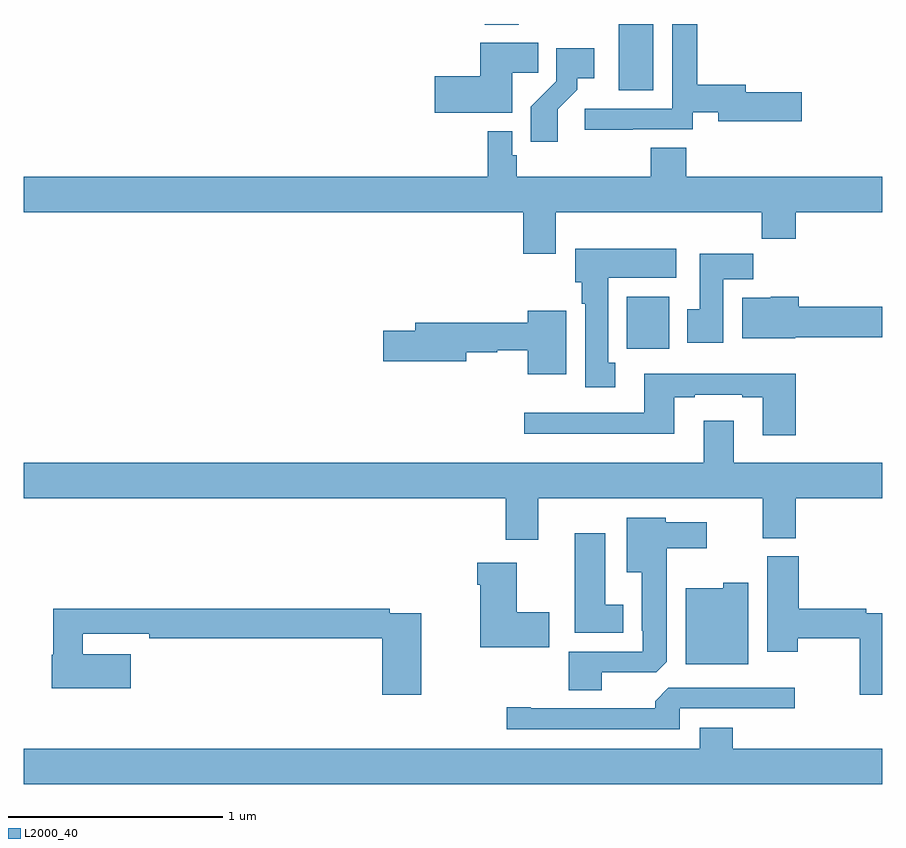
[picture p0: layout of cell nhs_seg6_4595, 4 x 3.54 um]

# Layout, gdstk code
import gdstk
lib = gdstk.Library(unit=1e-6, precision=1e-09)
def R(c, l, rs):  # rectangles x0, y0, x1, y1
    for r in rs: c.add(gdstk.rectangle(r[:2], r[2:], *l))
def P(c, l, *ps):  # polygons
    for p in ps: c.add(gdstk.Polygon(p, *l))
L2000_40 = (2000, 40)

nhs_seg6_4595 = lib.new_cell('nhs_seg6_4595')
R(nhs_seg6_4595, L2000_40, [(383.81,991.988,384.007,992.23), (383.771,993.192,383.932,993.5), (383.147,993.497,383.307,993.5)])
P(nhs_seg6_4595, L2000_40, [(383.837,993.009),(384.117,993.009),(384.117,993.09),(384.236,993.09),(384.236,993.047),(384.625,993.047),(384.625,993.182),(384.364,993.182),(384.364,993.218),(384.137,993.218),(384.137,993.5),(384.021,993.5),(384.021,993.105),(383.613,993.105),(383.613,993.007),(383.837,993.007)],
  [(383.275,993.274),(383.396,993.274),(383.396,993.412),(383.126,993.412),(383.126,993.257),(382.914,993.257),(382.914,993.086),(383.275,993.086)],
  [(383.488,993.103),(383.578,993.193),(383.578,993.248),(383.659,993.248),(383.659,993.388),(383.481,993.388),(383.481,993.233),(383.362,993.114),(383.362,992.952),(383.488,992.952)],
  [(383.479,992.624),(384.439,992.624),(384.439,992.5),(384.596,992.5),(384.596,992.624),(385,992.624),(385,992.788),(384.086,992.788),(384.086,992.924),(383.921,992.924),(383.921,992.788),(383.297,992.788),(383.297,992.889),(383.277,992.889),(383.277,993.001),(383.161,993.001),(383.161,992.788),(381,992.788),(381,992.624),(383.327,992.624),(383.327,992.43),(383.479,992.43)],
  [(383.755,991.922),(383.722,991.922),(383.722,992.318),(384.04,992.318),(384.04,992.452),(383.57,992.452),(383.57,992.298),(383.6,992.298),(383.6,992.198),(383.615,992.198),(383.615,991.809),(383.755,991.809)],
  [(384.259,992.312),(384.398,992.312),(384.398,992.431),(384.149,992.431),(384.149,992.172),(384.092,992.172),(384.092,992.016),(384.259,992.016)],
  [(384.594,992.042),(385,992.042),(385,992.184),(384.611,992.184),(384.611,992.23),(384.48,992.23),(384.48,992.224),(384.347,992.224),(384.347,992.036),(384.594,992.036)],
  [(383.527,992.164),(383.348,992.164),(383.348,992.108),(382.823,992.108),(382.823,992.072),(382.674,992.072),(382.674,991.93),(383.062,991.93),(383.062,991.972),(383.205,991.972),(383.205,991.98),(383.348,991.98),(383.348,991.868),(383.527,991.868)],
  [(384.596,991.87),(383.891,991.87),(383.891,991.689),(383.331,991.689),(383.331,991.592),(384.031,991.592),(384.031,991.761),(384.127,991.761),(384.127,991.773),(384.347,991.773),(384.347,991.761),(384.443,991.761),(384.443,991.584),(384.596,991.584)],
  [(383.398,991.292),(384.443,991.292),(384.443,991.105),(384.596,991.105),(384.596,991.292),(385,991.292),(385,991.456),(384.307,991.456),(384.307,991.651),(384.167,991.651),(384.167,991.456),(381,991.456),(381,991.292),(383.246,991.292),(383.246,991.098),(383.398,991.098)],
  [(383.692,990.48),(383.946,990.48),(383.995,990.529),(383.995,991.058),(384.181,991.058),(384.181,991.18),(383.991,991.18),(383.991,991.201),(383.81,991.201),(383.81,990.947),(383.879,990.947),(383.879,990.673),(383.883,990.673),(383.883,990.576),(383.54,990.576),(383.54,990.397),(383.692,990.397)],
  [(383.794,990.796),(383.71,990.796),(383.71,991.129),(383.567,991.129),(383.567,990.665),(383.794,990.665)],
  [(385,990.756),(384.926,990.756),(384.926,990.776),(384.611,990.776),(384.611,991.02),(384.464,991.02),(384.464,990.576),(384.606,990.576),(384.606,990.64),(384.895,990.64),(384.895,990.375),(385,990.375)],
  [(383.449,990.759),(383.296,990.759),(383.296,990.991),(383.114,990.991),(383.114,990.887),(383.126,990.887),(383.126,990.596),(383.449,990.596)],
  [(384.376,990.898),(384.258,990.898),(384.258,990.871),(384.083,990.871),(384.083,990.518),(384.376,990.518)],
  [(382.853,990.756),(382.706,990.756),(382.706,990.776),(381.139,990.776),(381.139,990.561),(381.131,990.561),(381.131,990.407),(381.499,990.407),(381.499,990.565),(381.275,990.565),(381.275,990.66),(381.586,990.66),(381.586,990.64),(382.67,990.64),(382.67,990.375),(382.853,990.375)],
  [(384.057,990.312),(384.592,990.312),(384.592,990.408),(384.003,990.408),(383.942,990.346),(383.942,990.312),(383.362,990.312),(383.362,990.317),(383.25,990.317),(383.25,990.216),(384.057,990.216)],
  [(385,990.124),(384.302,990.124),(384.302,990.223),(384.149,990.223),(384.149,990.124),(381,990.124),(381,989.96),(385,989.96)])

lib.write_gds('nhs_seg6_4595.gds')
